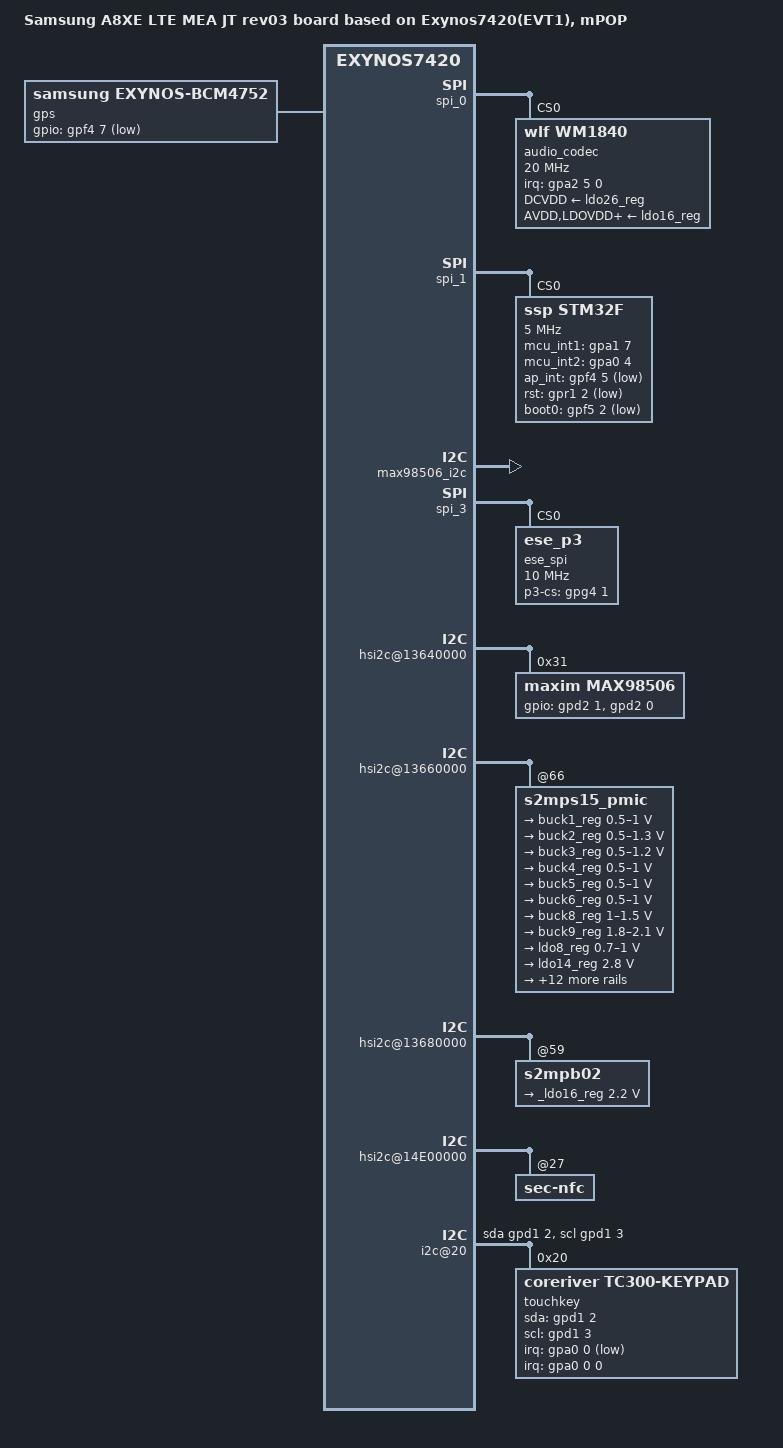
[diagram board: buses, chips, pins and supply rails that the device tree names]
/*
 * SAMSUNG UNIVERSAL7420 board device tree source
 *
 * Copyright (c) 2014 Samsung Electronics Co., Ltd.
 *		http://www.samsung.com
 *
 * This program is free software; you can redistribute it and/or modify
 * it under the terms of the GNU General Public License version 2 as
 * published by the Free Software Foundation.
*/

/dts-v1/;
#include "exynos7420-a8xe_common.dtsi"
#include "exynos7420-a8xelte_battery_00.dtsi"
#include "exynos7420-a8xelte_gpio_mea_jt_03.dtsi"
#include "exynos7420-a8xelte_modem-shannon_ds.dtsi"
#include "exynos7420-a8xelte_fingerprint-sensor_03.dtsi"
#include "exynos7420-a8xelte_mst.dtsi"

/ {
	model = "Samsung A8XE LTE MEA JT rev03 board based on Exynos7420(EVT1), mPOP";
	model_info-chip = <7420>;
	model_info-platform = "android";
	model_info-subtype = "samsung";
	model_info-hw_rev = <3>;
	model_info-hw_rev_end = <255>;
	compatible = "samsung,A8XE LTE MEA JT EVT1 mPOP,r03", "samsung,exynos7420";

	sound {
		samsung,audio-routing =
				"HP", "HPOUT1L",
				"HP", "HPOUT1R",
				"SPK", "HiFi Playback",
				"RCV", "HPOUT3L",
				"RCV", "HPOUT3R",
				"Main Mic", "MICBIAS1",
				"IN1R", "Main Mic",
				"Headset Mic", "MICBIAS2",
				"IN2BL", "Headset Mic",
				"Sub Mic", "MICBIAS4",
				"IN3R", "Sub Mic",
				"Third Mic", "MICBIAS3",
				"IN4L", "Third Mic",
				"HiFi Capture", "VI SENSING",
				"IN3L", "FM In",
				"IN3R", "FM In";
	};

	spi_0: spi@14d20000 {
		/delete-property/ dma-mode;
		/delete-property/ dmas;
		/delete-property/ dma-names;

		num-cs = <1>;
		status = "okay";

		audio_codec: wm1840@0 {
			compatible = "wlf,wm1840";
			reg = <0x0>;
			spi-max-frequency = <20000000>;
			interrupts = <5 0 0>;
			interrupt-parent = <&gpa2>;

			gpio-controller;
			#gpio-cells = <2>;

			pinctrl-names ="default";
			pinctrl-0 = <&codec_reset &codec_irq>;

			wlf,reset = <&gpf4 0 0>;
			wlf,init-mic-delay = <30>;
			wlf,use-jd-gpio;
			wlf,micd-clamp-mode = <0x8>;
			wlf,micd-detect-debounce = <300>;
			wlf,micd-pol-gpio = <0>;
			wlf,micd-bias-start-time = <0x1>;
			wlf,micd-rate = <0x7>;
			wlf,micd-dbtime = <0x1>;
			wlf,micd-timeout = <1000>;
			wlf,micd-force-micbias;
			wlf,hpdet-moisture-imp = <2000>;
			wlf,hpdet-moisture-debounce = <40>;
			wlf,hpdet-channel = <1>;
			wlf,hpdet-ext-res = <33>;
			wlf,hpdet-short-circuit-imp = <3>;
			wlf,micd-ranges = <
				116 226
				173 582
				321 115
				752 114
				1257 217
			>;
			wlf,hs-mic = <3>;
			wlf,micd-configs = <
				0x0 2 0
			>;

			wlf,micbias1 = <1800 0 1 0 0>;
			wlf,micbias2 = <2800 0 1 0 0>;
			wlf,micbias3 = <1800 0 1 0 0>;
			wlf,micbias4 = <1800 0 1 0 0>;

			wlf,gpio-defaults = <
				0xffffffff 0xffffffff /* GPIO1 */
				0xffffffff 0xffffffff /* GPIO2 */
				0xffffffff 0xffffffff /* GPIO3 */
				0xffffffff 0xffffffff /* GPIO4 */
				0xffffffff 0xffffffff /* GPIO5 */
				0xffffffff 0xffffffff /* GPIO6 */
				0xffffffff 0xffffffff /* GPIO7 */
				0xffffffff 0xffffffff /* GPIO8 */
				0xffffffff 0xffffffff /* MIF1SCLK / GPIO9 */
				0xffffffff 0xffffffff /* MIF1SDA / GPIO10 */
				0xffffffff 0xffffffff /* MIF2SCLK / GPIO11 */
				0xffffffff 0xffffffff /* MIF2SDA / GPIO12 */
				0xffffffff 0xffffffff /* MIF3SCLK / GPIO13 */
				0xffffffff 0xffffffff /* MIF3SDA / GPIO14 */
				0x00002000 0x00006000 /* AIF1TXDAT / GPIO15 */
				0x00002000 0x00006000 /* AIF1BCLK / GPIO16 */
				0x00002000 0x00006000 /* AIF1RXDAT / GPIO17 */
				0x00002000 0x00006000 /* AIF1LRCLK / GPIO18 */
				0x00002000 0x00006000 /* AIF2TXDAT / GPIO19 */
				0x00002000 0x00006000 /* AIF2BCLK / GPIO20 */
				0x00002000 0x00006000 /* AIF2RXDAT / GPIO21 */
				0x00002000 0x00006000 /* AIF2LRCLK / GPIO22 */
				0x00002000 0x00006000 /* AIF3TXDAT / GPIO23 */
				0x00002000 0x00006000 /* AIF3BCLK / GPIO24 */
				0x00002000 0x00006000 /* AIF3RXDAT / GPIO25 */
				0x00002000 0x00006000 /* AIF3LRCLK / GPIO26 */
				0x00002000 0x00006000 /* AIF4TXDAT / GPIO27 */
				0x00002000 0x00006000 /* AIF4BCLK / GPIO28 */
				0x00002000 0x00006000 /* AIF4RXDAT / GPIO29 */
				0x00002000 0x00006000 /* AIF4LRCLK / GPIO30 */
				0x00002000 0x0000e000 /* DMICCLK4 / GPIO31 */
				0x00002000 0x0000e000 /* DMICDAT4 / GPIO32 */
				0xffffffff 0xffffffff /* DMICCLK5 / GPIO33 */
				0xffffffff 0xffffffff /* DMICDAT5 / GPIO34 */
				0xffffffff 0xffffffff /* DMICCLK6 / GPIO35 */
				0xffffffff 0xffffffff /* DMICDAT6 / GPIO36 */
				0xffffffff 0xffffffff /* SPKCLK1 / GPIO37 */
				0xffffffff 0xffffffff /* SPKCLK2 / GPIO38 */
				0xffffffff 0xffffffff /* SPKDAT1 / GPIO39 */
				0xffffffff 0xffffffff /* SPKDAT2 / GPIO40 */
			>;

			wlf,gpsw = <0x3>;
			wlf,micd-software-compare;
			wlf,micd-open-circuit-declare = <1>;
			wlf,jd-wake-time = <5000>;

			wlf,max-channels-clocked = <2 0 0 0>;
			/* 0:MICVDD 1:MICBIAS1 2:MICBIAS2 3:MICBIAS3 */
			wlf,dmic-ref = <1 2 1 0 0 0>;
			/* 1st cell:IN1L 2rd cell:IN1R 3nd cell:IN2L 4th cell:IN2R... 12th cell:IN6R */
			wlf,inmode = <0 0 0 0 0 0 0 0 0 0 0 0>;
			/* 1st cell:OUT1 2nd cell:OUT2 3rd cell:OUT3... 6th cell:OUT6 */
			wlf,out-mono = <0 1 1 0 0 0>;

			wlf,rev-specific-fw;

			DCVDD-supply = <&ldo26_reg>;
			AVDD-supply = <&ldo16_reg>;
			LDOVDD-supply = <&ldo16_reg>;
			DBVDD1-supply = <&ldo16_reg>;

			CPVDD-supply = <&ldo16_reg>;
			DBVDD2-supply = <&ldo16_reg>;
			DBVDD3-supply = <&ldo16_reg>;
			DBVDD4-supply = <&ldo16_reg>;
			SPKVDDL-supply = <&ldo16_reg>;
			SPKVDDR-supply = <&ldo16_reg>;

			adsps {
				#address-cells = <1>;
				#size-cells = <0>;

				adsp@0FFE00 {
					reg = <0x0FFE00>;
					firmware {
						TRACE {
							wlf,wmfw-file = "trace";
							wlf,bin-file = "None";
							wlf,compr-caps = <1 8 0x4 1 8000 16000 24000>;
						};
					};
				};
				adsp@17FE00 {
					reg = <0x17FE00>;
					firmware {
						TX_NB {
							wlf,wmfw-file = "tx-nb";
							wlf,bin-file = "None";
						};
						TX_WB {
							wlf,wmfw-file = "tx-wb";
							wlf,bin-file = "None";
						};
						TX_SWB_INTERVIEW {
							wlf,wmfw-file = "tx-swb";
							wlf,bin-file = "None";
						};
						TX_SWB_CONVERSATION {
							wlf,wmfw-file = "tx-swb";
							wlf,bin-file = "None";
						};
						TX_FB_MEETING {
							wlf,wmfw-file = "tx-fb-meeting";
							wlf,bin-file = "tx-fb-meeting";
						};
					};
				};
				adsp@1FFE00 {
					reg = <0x1FFE00>;
					firmware {
						TX_NB {
							wlf,wmfw-file = "tx-nb";
							wlf,bin-file = "tx-nb";
						};
						TX_WB {
							wlf,wmfw-file = "tx-wb";
							wlf,bin-file = "tx-wb";
						};
						TX_SWB_INTERVIEW {
							wlf,wmfw-file = "tx-swb";
							wlf,bin-file = "tx-swb-interview";
						};
						TX_SWB_CONVERSATION {
							wlf,wmfw-file = "tx-swb";
							wlf,bin-file = "tx-swb-conversation";
						};
						TX_WB_MEETING {
							wlf,wmfw-file = "tx-wb-meeting";
							wlf,bin-file = "tx-wb-meeting";
						};
					};
				};
				adsp@27FE00 {
					reg = <0x27FE00>;
					firmware {
						RX_NB {
							wlf,wmfw-file = "rx-anc-nb";
							wlf,bin-file = "rx-anc-nb";
						};
						RX_WB {
							wlf,wmfw-file = "rx-anc-wb";
							wlf,bin-file = "rx-anc-wb";
						};
					};
				};
				adsp@37FE00 {
					reg = <0x37FE00>;
					firmware {
						VOICECONTROL {
							wlf,wmfw-file = "ez2-control";
							wlf,bin-file = "ez2-control";
							wlf,compr-caps = <1 1 0x4 1 16000>;
						};
						LPSD {
							wlf,wmfw-file = "ez2-control";
							wlf,bin-file = "lpsd-control";
						};
					};
				};
				adsp@2FFE00 {
					reg = <0x2FFE00>;
					firmware {
						DSM {
							wlf,wmfw-file = "dsm";
							wlf,bin-file = "None";
						};
					};
				};
			};
			controller-data {
				cs-gpio = <&gpd8 1 0>;
				samsung,spi-feedback-delay = <0>;
			};
		};
	};
	
	spi_1: spi@14d30000 {
		#address-cells = <1>;
		#size-cells = <0>;

		pinctrl-names = "default";
		pinctrl-0 = <&spi1_mosi_sck_ssn &spi1_miso>;

		num-cs = <1>;
		status = "okay";
		STM32F@0 {
			compatible = "ssp,STM32F";
			reg = <0>;
			spi-max-frequency = <5000000>;
			spi-cpol;
			spi-cpha;
			pinctrl-names = "default";
			pinctrl-0 = <&ssp_rst &ssp_ap_int &ssp_mcu_int1 &ssp_mcu_int2 &ssp_boot0>;

			gpio-controller;
			#gpio-cells = <2>;
			ssp,mcu_int1-gpio = <&gpa1 7 0x00>;
			ssp,mcu_int2-gpio = <&gpa0 4 0x00>;
			ssp,ap_int-gpio = <&gpf4 5 0x01>;
			ssp,rst-gpio = <&gpr1 2 0x01>;
			ssp,boot0-gpio = <&gpf5 2 0x1>;
			ssp,acc-position = <8>;
			ssp,mag-position = <8>;
			ssp-sns-combination = <0>;
			ssp,prox-hi_thresh = <140>;
			ssp,prox-low_thresh = <90>;
			ssp,prox-cal_hi_thresh = <8192>;
			ssp,prox-cal_low_thresh = <5000>;
			ssp-ap-rev = <1>;
			ssp-mag-array = <9306 954 46 2198 8809 (-49) 620 (-1318) 10166>;
			ssp-glass-type = <0>;
			ssp-acc-type = <3>;
			ssp-pressure-type = <1>;

			controller-data {
			    cs-gpio = <&gpd6 3 0>;
			    samsung,spi-feedback-delay = <0>;
            };
        };
    };


	pinctrl@13470000 {
		uart0_rts: uart0-rts {
			samsung,pins = "gpd0-3";
			samsung,pin-function = <2>;
			samsung,pin-pud = <1>;
			samsung,pin-con-pdn = <3>;
			samsung,pin-pud-pdn = <1>;
		};

		uart0_cts: uart0-cts {
			samsung,pins = "gpd0-2";
			samsung,pin-function = <2>;
			samsung,pin-pud = <1>;
			samsung,pin-con-pdn = <3>;
			samsung,pin-pud-pdn = <1>;
		};

		uart0_tx: uart0-tx {
			samsung,pins = "gpd0-1";
			samsung,pin-function = <2>;
			samsung,pin-pud = <3>;
			samsung,pin-con-pdn = <3>;
			samsung,pin-pud-pdn = <3>;
		};	

		uart0_rx: uart0-rx {
			samsung,pins = "gpd0-0";
			samsung,pin-function = <2>;
			samsung,pin-pud = <3>;
			samsung,pin-con-pdn = <3>;
			samsung,pin-pud-pdn = <3>;
		};
	};

	serial@13630000 {
		pinctrl-0 = <&uart0_rts &uart0_cts &uart0_tx &uart0_rx>;
	};

	gps {
		compatible = "samsung,exynos-bcm4752";
		gpios = <&gpf4 7 0x1>;
		status = "okay";
	};
	
	spi_3: spi@14d50000 {
		spiclk-pindev-name = "14c90000.pinctrl";
		spiclk-pin-name = "gpg4-0";
		status = "okay";
		#address-cells = <1>;
		#size-cells = <0>;
		pinctrl-names = "default","ese-pwoff","clk-fix","clk-recover","ese-disable";
		pinctrl-0 = <&spi3_bus &spi3_cs_func>;
		pinctrl-1 = <&spi3_ese_pwoff>;
		pinctrl-2 = <&spi3_clk_fix>;
		pinctrl-3 = <&spi3_clk_recover>;
		pinctrl-4 = <&spi3_ese_disable>;
		samsung,ese-oberthur;

		ese_spi@0 {
			compatible = "ese_p3";
			reg = <0>;
			spi-max-frequency = <10000000>;

			gpio-controller;
			#gpio-cells = <2>;

			p3-mosipin = <21>;
			p3-misopin = <22>;
			p3-cspin = <23>;
			p3-clkpin = <24>;
			p3-cs-gpio = <&gpg4 1 0>;
			p3-vdd-1p8= "VDD_1.8V_ESE";

			controller-data {
				samsung,spi-chip-select-mode = <0>;
			};
		};
	};

	audio_pdata {
		compatible = "samsung,audio-pdata";

		seamless_voicewakeup;
		status = "okay";
	};

	pinctrl@10580000 {
		codec_irq: codec-irq {
			samsung,pins = "gpa2-5";
			samsung,pin-function = <0xf>;
			samsung,pin-pud = <0>;
		};
		max98506_ctrl: max98506-ctl {
			samsung,pins ="gpa2-0";
			samsung,pin-function = <0>;
			samsung,pin-pud = <0>;
			samsung,pin-con-pdn =<2>;
			samsung,pin-pud-pdn = <0>;
		};
	};

	pinctrl@13470000 {
		max98506_i2c: max98506-i2c {
			samsung,pins = "gpd2-0", "gpd2-1";
			samsung,pin-pud = <0>;
			status = "okay";
		};
	};

	pinctrl@14870000 {
		codec_reset: codec-reset {
			samsung,pins ="gpf4-0";
			samsung,pin-function = <1>;
			samsung,pin-pud = <1>;
			samsung,pin-con-pdn =<3>;
			samsung,pin-pud-pdn = <1>;
			samsung,pin-val = <0>;
		};
	};

	hsi2c@13640000 {
		status = "okay";
		max98506@31 {
			compatible = "maxim,max98506";
			reg = <0x31>;
			pinctrl-names = "default";
			pinctrl-0 = <&max98506_i2c &max98506_ctrl>;
			gpios = <&gpd2 1 0
				&gpd2 0 0
				>;
			i2c-gpio,delay-us = <2>;
			maxim,platform_type = <0>;
			maxim,spk_vol = <0x14>;
			maxim,sysclk = <12288000>;
			maxim,vmon_slot = <0>;
			maxim,platform_info = <0 0x4000 0x0F010203 0x0FF10203 0x00000000 40>;
			maxim,boost_step = <
						0x0F 0x0F 0x0F 0x0F
						0x0F 0x0F 0x0F 0x0F
						0x0F 0x0F 0x0F 0x0F
						0x0F 0x0F 0x02 0x00
						>;
			maxim,adc_threshold = <7>;
			maxim,registers-of-amp =
				<0x1F 0x00>,
				<0x21 0xC0>,
				<0x2F 0x00>;
		};
	};

	hsi2c@13660000 {
		s2mps15_pmic@66 {
			regulators {
				buck1_reg: BUCK1 {
					regulator-name = "vdd_mif";
					regulator-min-microvolt = <500000>;
					regulator-max-microvolt = <1000000>;
					regulator-always-on;
					regulator-boot-on;
					regulator-ramp-delay = <12000>;
					regulator-initial-mode = <1>;
				};

				buck2_reg: BUCK2 {
					regulator-name = "vdd_atlas";
					regulator-min-microvolt = <500000>;
					regulator-max-microvolt = <1300000>;
					regulator-always-on;
					regulator-boot-on;
					regulator-ramp-delay = <12000>;
					regulator-initial-mode = <1>;
				};

				buck3_reg: BUCK3 {
					regulator-name = "vdd_apollo";
					regulator-min-microvolt = <500000>;
					regulator-max-microvolt = <1200000>;
					regulator-always-on;
					regulator-boot-on;
					regulator-ramp-delay = <12000>;
					regulator-initial-mode = <1>;
				};

				buck4_reg: BUCK4 {
					regulator-name = "vdd_int";
					regulator-min-microvolt = <500000>;
					regulator-max-microvolt = <1000000>;
					regulator-always-on;
					regulator-boot-on;
					regulator-ramp-delay = <12000>;
					regulator-initial-mode = <1>;
				};

				buck5_reg: BUCK5 {
					regulator-name = "vdd_disp_cam0";
					regulator-min-microvolt = <500000>;
					regulator-max-microvolt = <1000000>;
					regulator-always-on;
					regulator-boot-on;
					regulator-ramp-delay = <12000>;
					regulator-initial-mode = <1>;
				};

				buck6_reg: BUCK6 {
					regulator-name = "vdd_g3d";
					regulator-min-microvolt = <500000>;
					regulator-max-microvolt = <1000000>;
					regulator-always-on;
					regulator-boot-on;
					regulator-ramp-delay = <12000>;
					regulator-initial-mode = <1>;
				};

				buck8_reg: BUCK8 {
					regulator-name = "vdd_lldo";
					regulator-min-microvolt = <1000000>;
					regulator-max-microvolt = <1500000>;
					regulator-always-on;
					regulator-ramp-delay = <12000>;
					regulator-initial-mode = <3>;
				};

				buck9_reg: BUCK9 {
					regulator-name = "vdd_mldo";
					regulator-min-microvolt = <1800000>;
					regulator-max-microvolt = <2100000>;
					regulator-always-on;
					regulator-ramp-delay = <12000>;
					regulator-initial-mode = <3>;
				};

				ldo8_reg: LDO8 {
					regulator-name = "vdd_ldo8";
					regulator-min-microvolt = <700000>;
					regulator-max-microvolt = <1000000>;
					regulator-always-on;
					regulator-initial-mode = <1>;
				};

				ldo14_reg: LDO14 {
					regulator-name = "VDD_2P8_AP";
					regulator-min-microvolt = <2800000>;
					regulator-max-microvolt = <2800000>;
					regulator-boot-on;
					regulator-always-on;
				};

				ldo15_reg: LDO15 {
					regulator-name = "tsp_io";
					regulator-min-microvolt = <1800000>;
					regulator-max-microvolt = <1800000>;
				};

				ldo16_reg: LDO16 {
					regulator-name = "VCC_1.8V_CODEC_PMIC";
					regulator-min-microvolt = <1800000>;
					regulator-max-microvolt = <1800000>;
				};

				ldo17_reg: LDO17 {
					regulator-name = "vqmmc";
					regulator-min-microvolt = <1800000>;
					regulator-max-microvolt = <2800000>;
					regulator-ramp-delay = <12000>;
					regulator-initial-mode = <1>;
				};

				ldo18_reg: LDO18 {
					regulator-name = "VDD_SENSOR_IO_1.8V";
					regulator-min-microvolt = <1800000>;
					regulator-max-microvolt = <1800000>;
					regulator-boot-on;
					regulator-always-on;
				};

				ldo19_reg: LDO19 {
					regulator-name = "MST_LEVEL_3.0V";
					regulator-min-microvolt = <3000000>;
					regulator-max-microvolt = <3000000>;
				};

				ldo20_reg: LDO20 {
					regulator-name = "VDD20_1P8_AP";
					regulator-min-microvolt = <1800000>;
					regulator-max-microvolt = <1800000>;
				};

				ldo21_reg: LDO21 {
					regulator-name = "vtouch_3.3v";
					regulator-min-microvolt = <3300000>;
					regulator-max-microvolt = <3300000>;
					regulator-boot-on;
				};

				ldo22_reg: LDO22 {
					regulator-name = "VDD22_1P2_AP";
					regulator-min-microvolt = <1200000>;
					regulator-max-microvolt = <1200000>;
				};

				ldo23_reg: LDO23 {
					regulator-name = "VDD_1.8V_ESE";
					regulator-min-microvolt = <1800000>;
					regulator-max-microvolt = <1800000>;
				};

				ldo24_reg: LDO24 {
					regulator-name = "VDD_MOTOR_3P3";
					regulator-min-microvolt = <3300000>;
					regulator-max-microvolt = <3300000>;
					regulator-ramp-delay = <12000>;
				};

				ldo26_reg: LDO26 {
					regulator-name = "VDD_1.2V_CODEC";
					regulator-min-microvolt = <1200000>;
					regulator-max-microvolt = <1200000>;
				};

				ldo27_reg: LDO27 {
					regulator-name = "VDD_PERI_1P8";
					regulator-min-microvolt = <1800000>;
					regulator-max-microvolt = <1800000>;
					regulator-boot-on;
					regulator-always-on;
				};

			};
		};
	};

	hsi2c@13670000 {
		max77838@60 {
			status = "disabled";
		};
	};

	hsi2c@13680000 {
		s2mpb02@59 {
			regulators {
				_ldo16_reg: s2mpb02-ldo16 {
					regulator-name = "vtouch_2.2v";
					regulator-min-microvolt = <2200000>;
					regulator-max-microvolt = <2200000>;
					regulator-boot-on;
				};
			};
		};
	};
	
	hsi2c@14E00000 {
		sec-nfc@27 {
			sec-nfc,i2c_1p8 = "VDD20_1P8_AP";
		};
	};

	i2c@20{
		compatible = "i2c-gpio";
		gpios = <&gpd1 2 0 /* sda */
				&gpd1 3 0 /* scl */
				>;
		i2c-gpio,delay-us = <2>;
		#address-cells = <1>;
		#size-cells = <0>;
		status = "okay";
		pinctrl-names = "default","on_i2c","off_i2c";
		pinctrl-0 = <&cfg_i2c>;
		pinctrl-1 = <&cfg_i2c>;
		pinctrl-2 = <&cfg_gpio>;
		touchkey@20 {
			compatible = "coreriver,tc300-keypad";
			pinctrl-names = "on_irq","off_irq";
			pinctrl-0 = <&cfg_irq>;
			pinctrl-1 = <&cfg_input>;
			reg = <0x20>;
			interrupts = <0 0 0>;
			interrupt-parent = <&gpa0>;
			coreriver,sda-gpio = <&gpd1 2 0>;
			coreriver,scl-gpio = <&gpd1 3 0>;
			coreriver,irq-gpio = <&gpa0 0 1>;
			/* coreriver,sub-det = <&gpa3 0 0>; */
			coreriver,i2c-gpio = "true";
			coreriver,boot-on-ldo = "true";
			coreriver,regulator_ic = "vtouch_2.2v";
			coreriver,regulator_led = "vtouch_3.3v";
			coreriver,touchkey-led = "true";
			coreriver,use_bitmap = <1>;
			coreriver,sensing_ch_num = <0x4>;
			coreriver,tsk_ic_num = <0x1>; /* tc300k : 0x00, tc350k : 0x01 */
			coreriver,fw_name = "coreriver/tc305k_a8x.fw";
		};
	};
	
	dwmmc0@15740000 {
		status = "disabled";
	};
/*
	dwmmc2@15560000 {
		vdd_vmmc-supply = <&ldo25_reg>;
		vqmmc-supply = <&ldo2_reg>;
	};
*/
};
